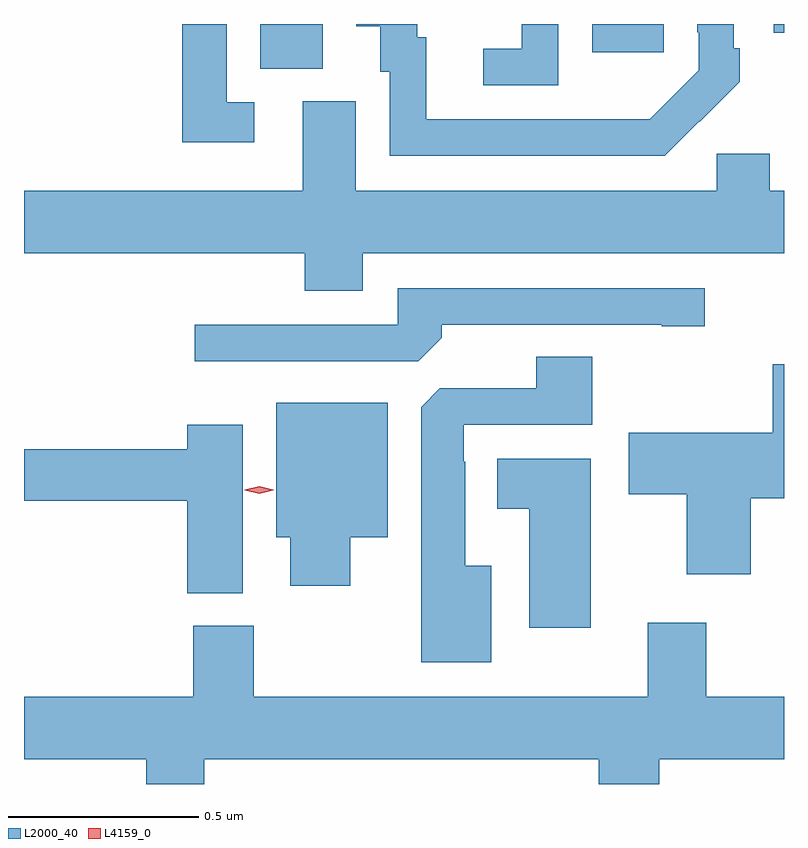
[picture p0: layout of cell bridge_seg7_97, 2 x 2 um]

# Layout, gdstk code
import gdstk
lib = gdstk.Library(unit=1e-6, precision=1e-09)
def R(c, l, rs):  # rectangles x0, y0, x1, y1
    for r in rs: c.add(gdstk.rectangle(r[:2], r[2:], *l))
def P(c, l, *ps):  # polygons
    for p in ps: c.add(gdstk.Polygon(p, *l))
L2000_40 = (2000, 40)
L4159_0 = (4159, 0)

bridge_seg7_97 = lib.new_cell('bridge_seg7_97')
R(bridge_seg7_97, L2000_40, [(1085.51,1003.765,1085.674,1003.883), (1086.383,1003.809,1086.571,1003.883), (1086.861,1003.86,1086.888,1003.883)])
P(bridge_seg7_97, L2000_40, [(1086.665,1003.627),(1086.666,1003.626),(1086.771,1003.731),(1086.771,1003.819),(1086.756,1003.819),(1086.756,1003.883),(1086.66,1003.883),(1086.66,1003.861),(1086.663,1003.861),(1086.663,1003.761),(1086.535,1003.633),(1086.431,1003.633),(1086.431,1003.632),(1085.947,1003.632),(1085.947,1003.848),(1085.923,1003.848),(1085.923,1003.883),(1085.762,1003.883),(1085.762,1003.877),(1085.825,1003.877),(1085.825,1003.758),(1085.85,1003.758),(1085.85,1003.536),(1086.574,1003.536)],
  [(1086.294,1003.883),(1086.198,1003.883),(1086.198,1003.818),(1086.096,1003.818),(1086.096,1003.722),(1086.294,1003.722)],
  [(1085.494,1003.677),(1085.421,1003.677),(1085.421,1003.883),(1085.305,1003.883),(1085.305,1003.572),(1085.494,1003.572)],
  [(1085.779,1003.28),(1086.888,1003.28),(1086.888,1003.444),(1086.85,1003.444),(1086.85,1003.542),(1086.711,1003.542),(1086.711,1003.444),(1085.761,1003.444),(1085.761,1003.68),(1085.621,1003.68),(1085.621,1003.444),(1084.888,1003.444),(1084.888,1003.28),(1085.627,1003.28),(1085.627,1003.181),(1085.779,1003.181)],
  [(1085.987,1003.058),(1085.987,1003.092),(1086.566,1003.092),(1086.566,1003.087),(1086.679,1003.087),(1086.679,1003.188),(1085.871,1003.188),(1085.871,1003.092),(1085.337,1003.092),(1085.337,1002.996),(1085.925,1002.996)],
  [(1086.118,1002.457),(1086.049,1002.457),(1086.049,1002.731),(1086.045,1002.731),(1086.045,1002.828),(1086.384,1002.828),(1086.384,1003.007),(1086.236,1003.007),(1086.236,1002.924),(1085.982,1002.924),(1085.933,1002.875),(1085.933,1002.203),(1086.118,1002.203)],
  [(1086.8,1002.635),(1086.888,1002.635),(1086.888,1002.988),(1086.859,1002.988),(1086.859,1002.808),(1086.48,1002.808),(1086.48,1002.646),(1086.632,1002.646),(1086.632,1002.435),(1086.8,1002.435)],
  [(1085.746,1002.533),(1085.845,1002.533),(1085.845,1002.886),(1085.552,1002.886),(1085.552,1002.533),(1085.588,1002.533),(1085.588,1002.405),(1085.746,1002.405)],
  [(1085.464,1002.829),(1085.318,1002.829),(1085.318,1002.764),(1084.888,1002.764),(1084.888,1002.628),(1085.318,1002.628),(1085.318,1002.385),(1085.464,1002.385)],
  [(1086.379,1002.739),(1086.134,1002.739),(1086.134,1002.608),(1086.218,1002.608),(1086.218,1002.294),(1086.379,1002.294)],
  [(1085.362,1001.948),(1086.4,1001.948),(1086.4,1001.883),(1086.56,1001.883),(1086.56,1001.948),(1086.888,1001.948),(1086.888,1002.112),(1086.683,1002.112),(1086.683,1002.307),(1086.53,1002.307),(1086.53,1002.112),(1085.493,1002.112),(1085.493,1002.3),(1085.333,1002.3),(1085.333,1002.112),(1084.888,1002.112),(1084.888,1001.948),(1085.21,1001.948),(1085.21,1001.883),(1085.362,1001.883)])
P(bridge_seg7_97, L4159_0, [(1085.507,1002.647),(1085.469,1002.656),(1085.469,1002.657),(1085.469,1002.657),(1085.507,1002.667),(1085.544,1002.657),(1085.545,1002.657),(1085.544,1002.656)])

lib.write_gds('bridge_seg7_97.gds')
